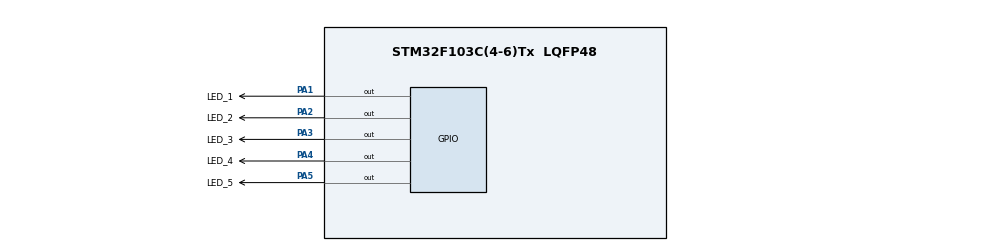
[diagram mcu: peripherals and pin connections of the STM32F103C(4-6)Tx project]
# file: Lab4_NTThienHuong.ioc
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Mcu.Family=STM32F1
Mcu.Name=STM32F103C(4-6)Tx
Mcu.Package=LQFP48
NVIC.PriorityGroup=NVIC_PRIORITYGROUP_4
NVIC.TIM2_IRQn=true\:0\:0\:false\:false\:true\:true\:true\:true
PA1.GPIO_Label=LED_1
PA1.Signal=GPIO_Output
PA2.GPIO_Label=LED_2
PA2.Signal=GPIO_Output
PA3.GPIO_Label=LED_3
PA3.Signal=GPIO_Output
PA4.GPIO_Label=LED_4
PA4.Signal=GPIO_Output
PA5.GPIO_Label=LED_5
PA5.Signal=GPIO_Output
ProjectManager.HeapSize=0x200
ProjectManager.StackSize=0x400
ProjectManager.TargetToolchain=STM32CubeIDE
RCC.APB1Freq_Value=8000000
RCC.APB2Freq_Value=8000000
TIM2.Period=9
TIM2.Prescaler=7999
VP_SYS_VS_ND.Mode=No_Debug
VP_TIM2_VS_ClockSourceINT.Mode=Internal
board=custom

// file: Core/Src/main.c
/* USER CODE BEGIN Header */
/**
  ******************************************************************************
  * @file           : main.c
  * @brief          : Main program body
  ******************************************************************************
  * @attention
  *
  * Copyright (c) 2024 STMicroelectronics.
  * All rights reserved.
  *
  * This software is licensed under terms that can be found in the LICENSE file
  * in the root directory of this software component.
  * If no LICENSE file comes with this software, it is provided AS-IS.
  *
  ******************************************************************************
  */
/* USER CODE END Header */
#include "main.h"
#include "scheduler.h"

TIM_HandleTypeDef htim2;

void SystemClock_Config(void);
static void MX_GPIO_Init(void);
static void MX_TIM2_Init(void);

/* USER CODE BEGIN 0 */
void ToggleLED1(){
	HAL_GPIO_TogglePin(LED_1_GPIO_Port, LED_1_Pin);
}
void ToggleLED2(){
	HAL_GPIO_TogglePin(LED_2_GPIO_Port, LED_2_Pin);
}
void ToggleLED3(){
	HAL_GPIO_TogglePin(LED_3_GPIO_Port, LED_3_Pin);
}
void ToggleLED4(){
	HAL_GPIO_TogglePin(LED_4_GPIO_Port, LED_4_Pin);
}
void ToggleLED5(){
	HAL_GPIO_TogglePin(LED_5_GPIO_Port, LED_5_Pin);
}
/* USER CODE END 0 */

int main(void)
{

  /* MCU Configuration--------------------------------------------------------*/

  /* Reset of all peripherals, Initializes the Flash interface and the Systick. */
  HAL_Init();

  /* Configure the system clock */
  SystemClock_Config();

  /* Initialize all configured peripherals */
  MX_GPIO_Init();
  MX_TIM2_Init();
  /* USER CODE BEGIN 2 */
  HAL_TIM_Base_Start_IT(&htim2);

  	SCH_Init();
  	// Register a timeout to fire a callback every 10ms.
    SCH_Add_Task(ToggleLED1, 1000, 10);
    // Register another timeout at a different interval in addition to the 500ms running concurrently
    SCH_Add_Task(ToggleLED2, 1000, 500);

    // a few calls to SCH_Add_Task.
    SCH_Add_Task(ToggleLED3, 1000, 0);
    SCH_Add_Task(ToggleLED4, 1000, 1000);
    SCH_Add_Task(ToggleLED5, 1000, 2000);
  /* USER CODE END 2 */

  /* Infinite loop */
  while (1)
  {
	  SCH_Dispatch_Tasks();
  }
}

void SystemClock_Config(void)
{
  RCC_OscInitTypeDef RCC_OscInitStruct = {0};
  RCC_ClkInitTypeDef RCC_ClkInitStruct = {0};

  /** Initializes the RCC Oscillators according to the specified parameters
  * in the RCC_OscInitTypeDef structure.
  */
  RCC_OscInitStruct.OscillatorType = RCC_OSCILLATORTYPE_HSI;
  RCC_OscInitStruct.HSIState = RCC_HSI_ON;
  RCC_OscInitStruct.HSICalibrationValue = RCC_HSICALIBRATION_DEFAULT;
  RCC_OscInitStruct.PLL.PLLState = RCC_PLL_NONE;
  if (HAL_RCC_OscConfig(&RCC_OscInitStruct) != HAL_OK)
  {
    Error_Handler();
  }

  /** Initializes the CPU, AHB and APB buses clocks
  */
  RCC_ClkInitStruct.ClockType = RCC_CLOCKTYPE_HCLK|RCC_CLOCKTYPE_SYSCLK
                              |RCC_CLOCKTYPE_PCLK1|RCC_CLOCKTYPE_PCLK2;
  RCC_ClkInitStruct.SYSCLKSource = RCC_SYSCLKSOURCE_HSI;
  RCC_ClkInitStruct.AHBCLKDivider = RCC_SYSCLK_DIV1;
  RCC_ClkInitStruct.APB1CLKDivider = RCC_HCLK_DIV1;
  RCC_ClkInitStruct.APB2CLKDivider = RCC_HCLK_DIV1;

  if (HAL_RCC_ClockConfig(&RCC_ClkInitStruct, FLASH_LATENCY_0) != HAL_OK)
  {
    Error_Handler();
  }
}

static void MX_TIM2_Init(void)
{

  TIM_ClockConfigTypeDef sClockSourceConfig = {0};
  TIM_MasterConfigTypeDef sMasterConfig = {0};

  htim2.Instance = TIM2;
  htim2.Init.Prescaler = 7999;
  htim2.Init.CounterMode = TIM_COUNTERMODE_UP;
  htim2.Init.Period = 9;
  htim2.Init.ClockDivision = TIM_CLOCKDIVISION_DIV1;
  htim2.Init.AutoReloadPreload = TIM_AUTORELOAD_PRELOAD_DISABLE;
  if (HAL_TIM_Base_Init(&htim2) != HAL_OK)
  {
    Error_Handler();
  }
  sClockSourceConfig.ClockSource = TIM_CLOCKSOURCE_INTERNAL;
  if (HAL_TIM_ConfigClockSource(&htim2, &sClockSourceConfig) != HAL_OK)
  {
    Error_Handler();
  }
  sMasterConfig.MasterOutputTrigger = TIM_TRGO_RESET;
  sMasterConfig.MasterSlaveMode = TIM_MASTERSLAVEMODE_DISABLE;
  if (HAL_TIMEx_MasterConfigSynchronization(&htim2, &sMasterConfig) != HAL_OK)
  {
    Error_Handler();
  }

}

static void MX_GPIO_Init(void)
{
  GPIO_InitTypeDef GPIO_InitStruct = {0};

  /* GPIO Ports Clock Enable */
  __HAL_RCC_GPIOA_CLK_ENABLE();

  /*Configure GPIO pin Output Level */
  HAL_GPIO_WritePin(GPIOA, LED_1_Pin|LED_2_Pin|LED_3_Pin|LED_4_Pin
                          |LED_5_Pin, GPIO_PIN_RESET);

  /*Configure GPIO pins : LED_1_Pin LED_2_Pin LED_3_Pin LED_4_Pin
                           LED_5_Pin */
  GPIO_InitStruct.Pin = LED_1_Pin|LED_2_Pin|LED_3_Pin|LED_4_Pin
                          |LED_5_Pin;
  GPIO_InitStruct.Mode = GPIO_MODE_OUTPUT_PP;
  GPIO_InitStruct.Pull = GPIO_NOPULL;
  GPIO_InitStruct.Speed = GPIO_SPEED_FREQ_LOW;
  HAL_GPIO_Init(GPIOA, &GPIO_InitStruct);

}

/* USER CODE BEGIN 4 */
void HAL_TIM_PeriodElapsedCallback(TIM_HandleTypeDef *htim){
	SCH_Update();
}
/* USER CODE END 4 */

void Error_Handler(void)
{
  __disable_irq();
  while (1)
  {
  }
}
